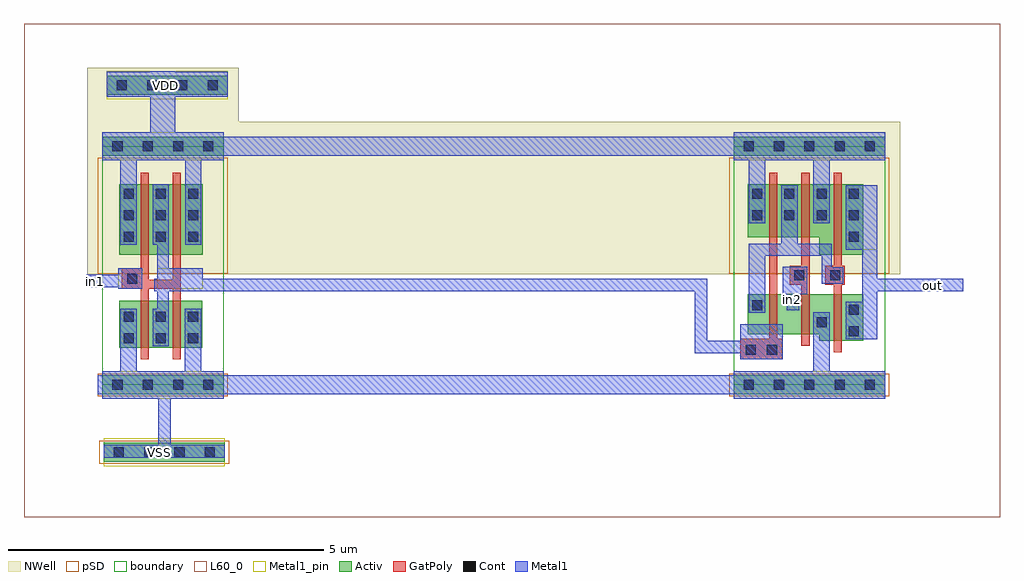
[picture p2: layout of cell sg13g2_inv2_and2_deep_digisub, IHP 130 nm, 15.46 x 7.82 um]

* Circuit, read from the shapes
.subckt sg13g2_inv2_and2_deep_digisub VDD VSS in1 in2 out
XM1 sg13g2_and2_1_0/A in1 VSS VSS sg13_lv_nmos w=0.74u l=0.13u m=2
XM2 n1 sg13g2_and2_1_0/A n2 VSS sg13_lv_nmos w=0.64u l=0.13u
XM3 VSS in2 n1 VSS sg13_lv_nmos w=0.64u l=0.13u
XM4 out n2 VSS VSS sg13_lv_nmos w=0.74u l=0.13u
XM5 sg13g2_and2_1_0/A in1 VDD VDD sg13_lv_pmos w=1.12u l=0.13u m=2
XM6 n2 sg13g2_and2_1_0/A VDD VDD sg13_lv_pmos w=0.84u l=0.13u
XM7 VDD in2 n2 VDD sg13_lv_pmos w=0.84u l=0.13u
XM8 out n2 VDD VDD sg13_lv_pmos w=1.12u l=0.13u
.ends

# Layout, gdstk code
import gdstk
lib = gdstk.Library(unit=1e-6, precision=1e-09)
def R(c, l, rs):  # rectangles x0, y0, x1, y1
    for r in rs: c.add(gdstk.rectangle(r[:2], r[2:], *l))
def A(c, l, x, y, w, h, nx, ny, dx, dy):  # array of equal rectangles
    R(c, l, [(x+i*dx, y+j*dy, x+i*dx+w, y+j*dy+h) for i in range(nx) for j in range(ny)])
def P(c, l, *ps):  # polygons
    for p in ps: c.add(gdstk.Polygon(p, *l))
Activ = (1, 0)
GatPoly = (5, 0)
Cont = (6, 0)
Metal1 = (8, 0)
Metal1_pin = (8, 2)
pSD = (14, 0)
NWell = (31, 0)
L60_0 = (60, 0)
boundary = (189, 4)

sg13g2_and2_1 = lib.new_cell('sg13g2_and2_1')
R(sg13g2_and2_1, Activ, [(0,-0.15,2.4,0.15), (0,3.63,2.4,3.93)])
P(sg13g2_and2_1, Activ, [(1.355,0.7),(1.355,0.8),(0.225,0.8),(0.225,1.44),(2.055,1.44),(2.055,0.7)],
  [(1.355,2.06),(1.355,2.34),(0.225,2.34),(0.225,3.18),(2.055,3.18),(2.055,2.06)])
P(sg13g2_and2_1, GatPoly, [(1.585,0.52),(1.585,1.585),(1.455,1.585),(1.455,1.885),(1.585,1.885),(1.585,3.36),(1.715,3.36),(1.715,1.885),(1.76,1.885),(1.76,1.585),(1.715,1.585),(1.715,0.52)],
  [(0.105,0.41),(0.105,0.73),(0.565,0.73),(0.565,3.36),(0.695,3.36),(0.695,0.73),(0.775,0.73),(0.775,0.41)],
  [(1.075,0.62),(1.075,1.585),(0.89,1.585),(0.89,1.885),(1.075,1.885),(1.075,3.36),(1.205,3.36),(1.205,0.62)])
A(sg13g2_and2_1, Cont, 0.16, -0.08, 0.16, 0.16, 5, 1, 0.48, 0)
A(sg13g2_and2_1, Cont, 0.295, 2.61, 0.16, 0.16, 4, 2, 0.51, 0.34)
R(sg13g2_and2_1, Cont, [(0.19,0.48,0.35,0.64), (0.53,0.48,0.69,0.64), (1.825,0.77,1.985,0.93), (1.315,0.91,1.475,1.07), (1.825,1.11,1.985,1.27), (0.295,1.18,0.455,1.34), (0.96,1.655,1.12,1.815), (1.53,1.655,1.69,1.815), (1.825,2.27,1.985,2.43), (0.16,3.7,0.32,3.86), (0.16,3.7,0.32,3.86), (0.16,3.7,0.32,3.86), (0.64,3.7,0.8,3.86), (0.64,3.7,0.8,3.86), (1.12,3.7,1.28,3.86), (1.12,3.7,1.28,3.86), (1.6,3.7,1.76,3.86), (1.6,3.7,1.76,3.86), (2.08,3.7,2.24,3.86), (2.08,3.7,2.24,3.86)])
R(sg13g2_and2_1, Metal1, [(0.105,0.405,0.78,0.96), (0.78,1.435,1.17,1.87)])
P(sg13g2_and2_1, Metal1, [(0.245,1.14),(0.245,2.24),(0.755,2.24),(0.755,3.16),(1.015,3.16),(1.015,2.24),(1.56,2.24),(1.56,1.865),(1.74,1.865),(1.74,1.605),(1.4,1.605),(1.4,2.05),(0.505,2.05),(0.505,1.14)],
  [(1.775,0.72),(1.775,1.32),(2.04,1.32),(2.04,2.14),(1.775,2.14),(1.775,3.16),(2.275,3.16),(2.275,0.72)],
  [(0.245,2.56),(0.245,3.56),(0,3.56),(0,4),(2.4,4),(2.4,3.56),(1.525,3.56),(1.525,2.56),(1.265,2.56),(1.265,3.56),(0.505,3.56),(0.505,2.56)],
  [(0,-0.22),(0,0.22),(1.265,0.22),(1.265,1.155),(1.525,1.155),(1.525,0.22),(2.4,0.22),(2.4,-0.22)])
R(sg13g2_and2_1, Metal1_pin, [(0,-0.22,2.4,0.22), (0.105,0.405,0.78,0.96), (0.78,1.435,1.17,1.87), (1.775,2.14,2.275,3.16), (0,3.56,2.4,4)])
R(sg13g2_and2_1, pSD, [(-0.07,-0.18,2.47,0.18), (-0.07,1.76,0.55,3.6), (-0.07,1.76,2.47,3.6)])
R(sg13g2_and2_1, NWell, [(-0.24,1.75,2.64,4.17)])
R(sg13g2_and2_1, boundary, [(0,0,2.4,3.78)])
sg13g2_and2_1.add(gdstk.Label('X', (1.995,2.68), layer=8, texttype=25))
sg13g2_and2_1.add(gdstk.Label('VSS', (1.18,0), layer=8, texttype=25))
sg13g2_and2_1.add(gdstk.Label('VDD', (1.275,3.78), layer=8, texttype=25))
sg13g2_and2_1.add(gdstk.Label('B', (0.98,1.655), layer=8, texttype=25))
sg13g2_and2_1.add(gdstk.Label('A', (0.465,0.745), layer=8, texttype=25))

sg13g2_inv_2 = lib.new_cell('sg13g2_inv_2')
R(sg13g2_inv_2, Activ, [(0,-0.15,1.92,0.15), (0.265,0.59,1.585,1.33), (0.265,2.06,1.59,3.18), (0,3.63,1.92,3.93)])
P(sg13g2_inv_2, GatPoly, [(0.605,0.41),(0.605,1.52),(0.305,1.52),(0.305,1.85),(0.605,1.85),(0.605,3.36),(0.735,3.36),(0.735,1.67),(1.115,1.67),(1.115,3.36),(1.245,3.36),(1.245,0.41),(1.115,0.41),(1.115,1.52),(0.735,1.52),(0.735,0.41)])
A(sg13g2_inv_2, Cont, 0.335, 0.66, 0.16, 0.16, 3, 2, 0.51, 0.34)
A(sg13g2_inv_2, Cont, 0.335, 2.27, 0.16, 0.16, 1, 3, 0, 0.34)
A(sg13g2_inv_2, Cont, 0.845, 2.27, 0.16, 0.16, 1, 3, 0, 0.34)
A(sg13g2_inv_2, Cont, 1.36, 2.27, 0.16, 0.16, 1, 3, 0, 0.34)
R(sg13g2_inv_2, Cont, [(0.16,-0.08,0.32,0.08), (0.16,-0.08,0.32,0.08), (0.64,-0.08,0.8,0.08), (0.64,-0.08,0.8,0.08), (1.12,-0.08,1.28,0.08), (1.12,-0.08,1.28,0.08), (1.6,-0.08,1.76,0.08), (1.6,-0.08,1.76,0.08), (0.39,1.605,0.55,1.765), (0.16,3.7,0.32,3.86), (0.16,3.7,0.32,3.86), (0.64,3.7,0.8,3.86), (0.64,3.7,0.8,3.86), (1.12,3.7,1.28,3.86), (1.12,3.7,1.28,3.86), (1.6,3.7,1.76,3.86), (1.6,3.7,1.76,3.86)])
R(sg13g2_inv_2, Metal1, [(0.255,1.52,0.635,1.85)])
P(sg13g2_inv_2, Metal1, [(0.285,2.22),(0.285,3.56),(0,3.56),(0,4),(1.92,4),(1.92,3.56),(1.57,3.56),(1.57,2.22),(1.31,2.22),(1.31,3.56),(0.545,3.56),(0.545,2.22)],
  [(0,-0.22),(0,0.22),(0.285,0.22),(0.285,1.21),(0.545,1.21),(0.545,0.22),(1.305,0.22),(1.305,1.21),(1.565,1.21),(1.565,0.22),(1.92,0.22),(1.92,-0.22)],
  [(0.795,0.61),(0.795,1.21),(0.87,1.21),(0.87,2.22),(0.795,2.22),(0.795,3.18),(1.055,3.18),(1.055,1.85),(1.59,1.85),(1.59,1.52),(1.055,1.52),(1.055,0.61)])
R(sg13g2_inv_2, Metal1_pin, [(0,-0.22,1.92,0.22), (0.255,1.52,0.635,1.85), (0.87,1.52,1.59,1.85), (0,3.56,1.92,4)])
R(sg13g2_inv_2, pSD, [(-0.07,-0.18,1.99,0.18), (-0.07,1.76,1.99,3.6)])
R(sg13g2_inv_2, NWell, [(-0.24,1.75,2.16,4.17)])
R(sg13g2_inv_2, boundary, [(0,0,1.92,3.78)])
sg13g2_inv_2.add(gdstk.Label('VSS', (0.89,0), layer=8, texttype=25))
sg13g2_inv_2.add(gdstk.Label('VDD', (0.935,3.785), layer=8, texttype=25))
sg13g2_inv_2.add(gdstk.Label('Y', (1.44,1.68), layer=8, texttype=25))
sg13g2_inv_2.add(gdstk.Label('A', (0.48,1.68), layer=8, texttype=25))

sg13g2_inv2_and2_deep_di = lib.new_cell('sg13g2_inv2_and2_deep_digisub')
R(sg13g2_inv2_and2_deep_di, Activ, [(-49.978,8.784,-48.058,9.084), (-49.932,14.597,-48.012,14.897)])
R(sg13g2_inv2_and2_deep_di, Cont, [(-49.818,8.854,-49.658,9.014), (-49.818,8.854,-49.658,9.014), (-49.338,8.854,-49.178,9.014), (-49.338,8.854,-49.178,9.014), (-48.858,8.854,-48.698,9.014), (-48.858,8.854,-48.698,9.014), (-48.378,8.854,-48.218,9.014), (-48.378,8.854,-48.218,9.014), (-49.772,14.667,-49.612,14.827), (-49.772,14.667,-49.612,14.827), (-49.292,14.667,-49.132,14.827), (-49.292,14.667,-49.132,14.827), (-48.812,14.667,-48.652,14.827), (-48.812,14.667,-48.652,14.827), (-48.332,14.667,-48.172,14.827), (-48.332,14.667,-48.172,14.827)])
R(sg13g2_inv2_and2_deep_di, Metal1_pin, [(-49.978,8.714,-48.058,9.154), (-49.932,14.527,-48.012,14.967)])
R(sg13g2_inv2_and2_deep_di, pSD, [(-50.048,8.754,-47.988,9.114)])
R(sg13g2_inv2_and2_deep_di, NWell, [(-50.24,11.751,-37.37,14.17), (-50.24,14.17,-47.836,15.023)])
R(sg13g2_inv2_and2_deep_di, L60_0, [(-51.242,7.901,-35.778,15.725)])
sg13g2_inv2_and2_deep_di.add(gdstk.FlexPath([(-48.058,8.95),(-49.978,8.95)], 0.2, ends="flush", simple_path=True, layer=8, datatype=0))  # Metal1
sg13g2_inv2_and2_deep_di.add(gdstk.FlexPath([(-49.015,8.85),(-49.015,10.18)], 0.2, ends="flush", simple_path=True, layer=8, datatype=0))  # Metal1
sg13g2_inv2_and2_deep_di.add(gdstk.FlexPath([(-37.983,10),(-50.07,10)], 0.3, ends="flush", simple_path=True, layer=8, datatype=0))  # Metal1
sg13g2_inv2_and2_deep_di.add(gdstk.FlexPath([(-37.6,13.78),(-49.867,13.78)], 0.3, ends="flush", simple_path=True, layer=8, datatype=0))  # Metal1
sg13g2_inv2_and2_deep_di.add(gdstk.FlexPath([(-48.012,14.763),(-49.932,14.763)], 0.4, ends="flush", simple_path=True, layer=8, datatype=0))  # Metal1
sg13g2_inv2_and2_deep_di.add(gdstk.FlexPath([(-49.043,13.93),(-49.043,14.967)], 0.4, ends="flush", simple_path=True, layer=8, datatype=0))  # Metal1
sg13g2_inv2_and2_deep_di.add(gdstk.FlexPath([(-49.175,11.584),(-40.516,11.584),(-40.516,10.599),(-39.65,10.599)], 0.2, ends="flush", simple_path=True, layer=8, datatype=0))  # Metal1
sg13g2_inv2_and2_deep_di.add(gdstk.FlexPath([(-39.06,11.87),(-39.06,11.18)], 0.2, ends="flush", simple_path=True, layer=8, datatype=0))  # Metal1
sg13g2_inv2_and2_deep_di.add(gdstk.FlexPath([(-49.45,11.644),(-50.252,11.644)], 0.2, ends="flush", simple_path=True, layer=8, datatype=0))  # Metal1
sg13g2_inv2_and2_deep_di.add(gdstk.FlexPath([(-37.96,11.581),(-36.363,11.581)], 0.2, ends="flush", simple_path=True, layer=8, datatype=0))  # Metal1
sg13g2_inv2_and2_deep_di.add(gdstk.Reference(sg13g2_and2_1, (-40,10)))
sg13g2_inv2_and2_deep_di.add(gdstk.Reference(sg13g2_inv_2, (-50,10)))
sg13g2_inv2_and2_deep_di.add(gdstk.Label('VSS', (-49.088,8.934), layer=8, texttype=25))
sg13g2_inv2_and2_deep_di.add(gdstk.Label('VDD', (-48.997,14.752), layer=8, texttype=25))
sg13g2_inv2_and2_deep_di.add(gdstk.Label('in2', (-39.06,11.352), layer=8, texttype=25))
sg13g2_inv2_and2_deep_di.add(gdstk.Label('in1', (-50.111,11.644), layer=8, texttype=25))
sg13g2_inv2_and2_deep_di.add(gdstk.Label('out', (-36.844,11.581), layer=8, texttype=25))

lib.write_gds('sg13g2_inv2_and2_deep_digisub.gds')
